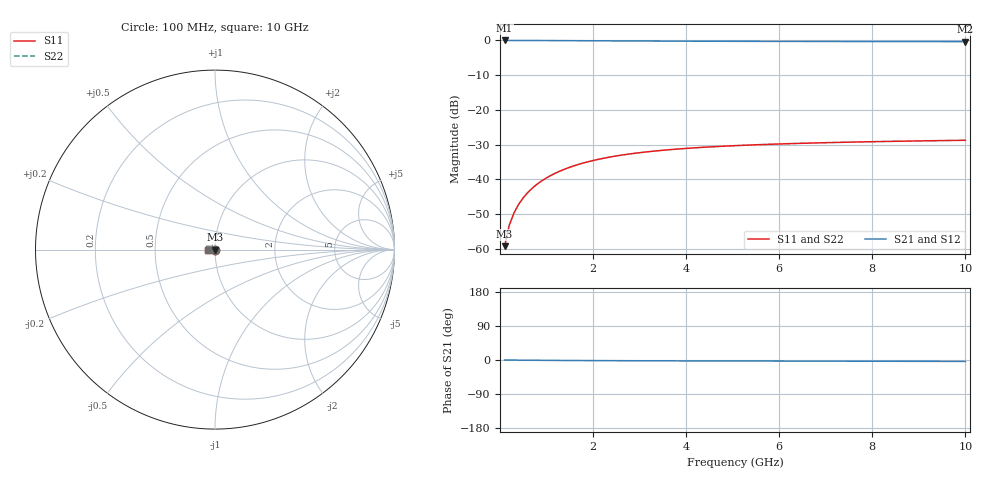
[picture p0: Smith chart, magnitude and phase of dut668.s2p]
! Touchstone file exported from HFSS 2024.1.0
!  File:  C:/UserFiles/LocalFiles/RDL_TSV_Batchsim/temp_TSV1_668_1779793946.aedt
!  Generated:  07:16:34 PM May 26, 2026
!  Design:  TSV1
!  Project:  temp_TSV1_668_1779793946
!  Setup:  Setup1
!  Solution:  Sweep
! Variables:
!  dtsv = 13.65um
!  hbump = 3um
!  htsv = 53.14um
!  lrdl = 252.1521522um
!  p = 40
!  p1 = 54.75um
!  t = 500um
!  trdl = 3um
!  wrdl = 24.89489489um
# GHz S MA R 50.000000
! Terminal data exported
! Port[1] = TSV22_T1
! Port[2] = TSV22_T2
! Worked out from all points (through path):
!   100 points, 100 MHz to 10 GHz, reference 50 ohm
!   highest |S21| = 0.00 dB at 100 MHz (marker M1); lowest = -0.3 dB at 10 GHz (marker M2)
!   lowest |S11| = -59.2 dB at 100 MHz (marker M3), VSWR 1.00, Z = 50 - j0.11 ohm
!   |S11| at or under -10 dB: start of sweep to end of sweep
!   |S22| runs from -59.2 to -28.7 dB; largest |S21 - S12| = 2.5e-15
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0.1  0.001096 -88.4  0.9999 -0.1  0.9999 -0.1  0.001096 -88.4
! Gamma 0 0 0 0
! Port Impedance 50 0 50 0
0.2  0.00219 -91.9  0.9998 -0.2  0.9998 -0.2  0.00219 -91.9
0.3  0.003282 -94.3  0.9996 -0.3  0.9996 -0.3  0.003282 -94.3
0.4  0.004368 -96.4  0.9993 -0.4  0.9993 -0.4  0.004368 -96.4
0.5  0.005443 -98.5  0.999 -0.5  0.999 -0.5  0.005443 -98.5
0.6  0.006502 -100.5  0.9986 -0.6  0.9986 -0.6  0.006502 -100.5
0.7  0.007544 -102.4  0.9981 -0.7  0.9981 -0.7  0.007544 -102.4
0.8  0.008564 -104.3  0.9976 -0.8  0.9976 -0.8  0.008564 -104.3
0.9  0.009562 -106.2  0.9971 -0.8  0.9971 -0.8  0.009562 -106.2
1.1  0.01148 -109.8  0.9959 -1.0  0.9959 -1.0  0.01148 -109.8
1.4  0.01415 -114.9  0.9938 -1.2  0.9938 -1.2  0.01415 -114.9
1.6  0.01579 -118.0  0.9923 -1.4  0.9923 -1.4  0.01579 -118.0
1.8  0.01731 -121.0  0.9908 -1.5  0.9908 -1.5  0.01731 -121.0
2.1  0.01938 -125.3  0.9886 -1.6  0.9886 -1.6  0.01938 -125.3
2.5  0.02177 -130.4  0.9857 -1.8  0.9857 -1.8  0.02177 -130.4
2.9  0.0238 -134.9  0.983 -2.0  0.983 -2.0  0.0238 -134.9
3.4  0.02591 -139.9  0.98 -2.2  0.98 -2.2  0.02591 -139.9
4.2  0.02855 -146.7  0.9759 -2.4  0.9759 -2.4  0.02855 -146.7
5.1  0.03074 -153.0  0.9723 -2.6  0.9723 -2.6  0.03074 -153.0
6.7  0.03341 -161.8  0.9678 -3.0  0.9678 -3.0  0.03341 -161.8
8.4  0.0353 -169.1  0.9646 -3.3  0.9646 -3.3  0.0353 -169.1
10  0.03661 -174.7  0.9626 -3.7  0.9626 -3.7  0.03661 -174.7
